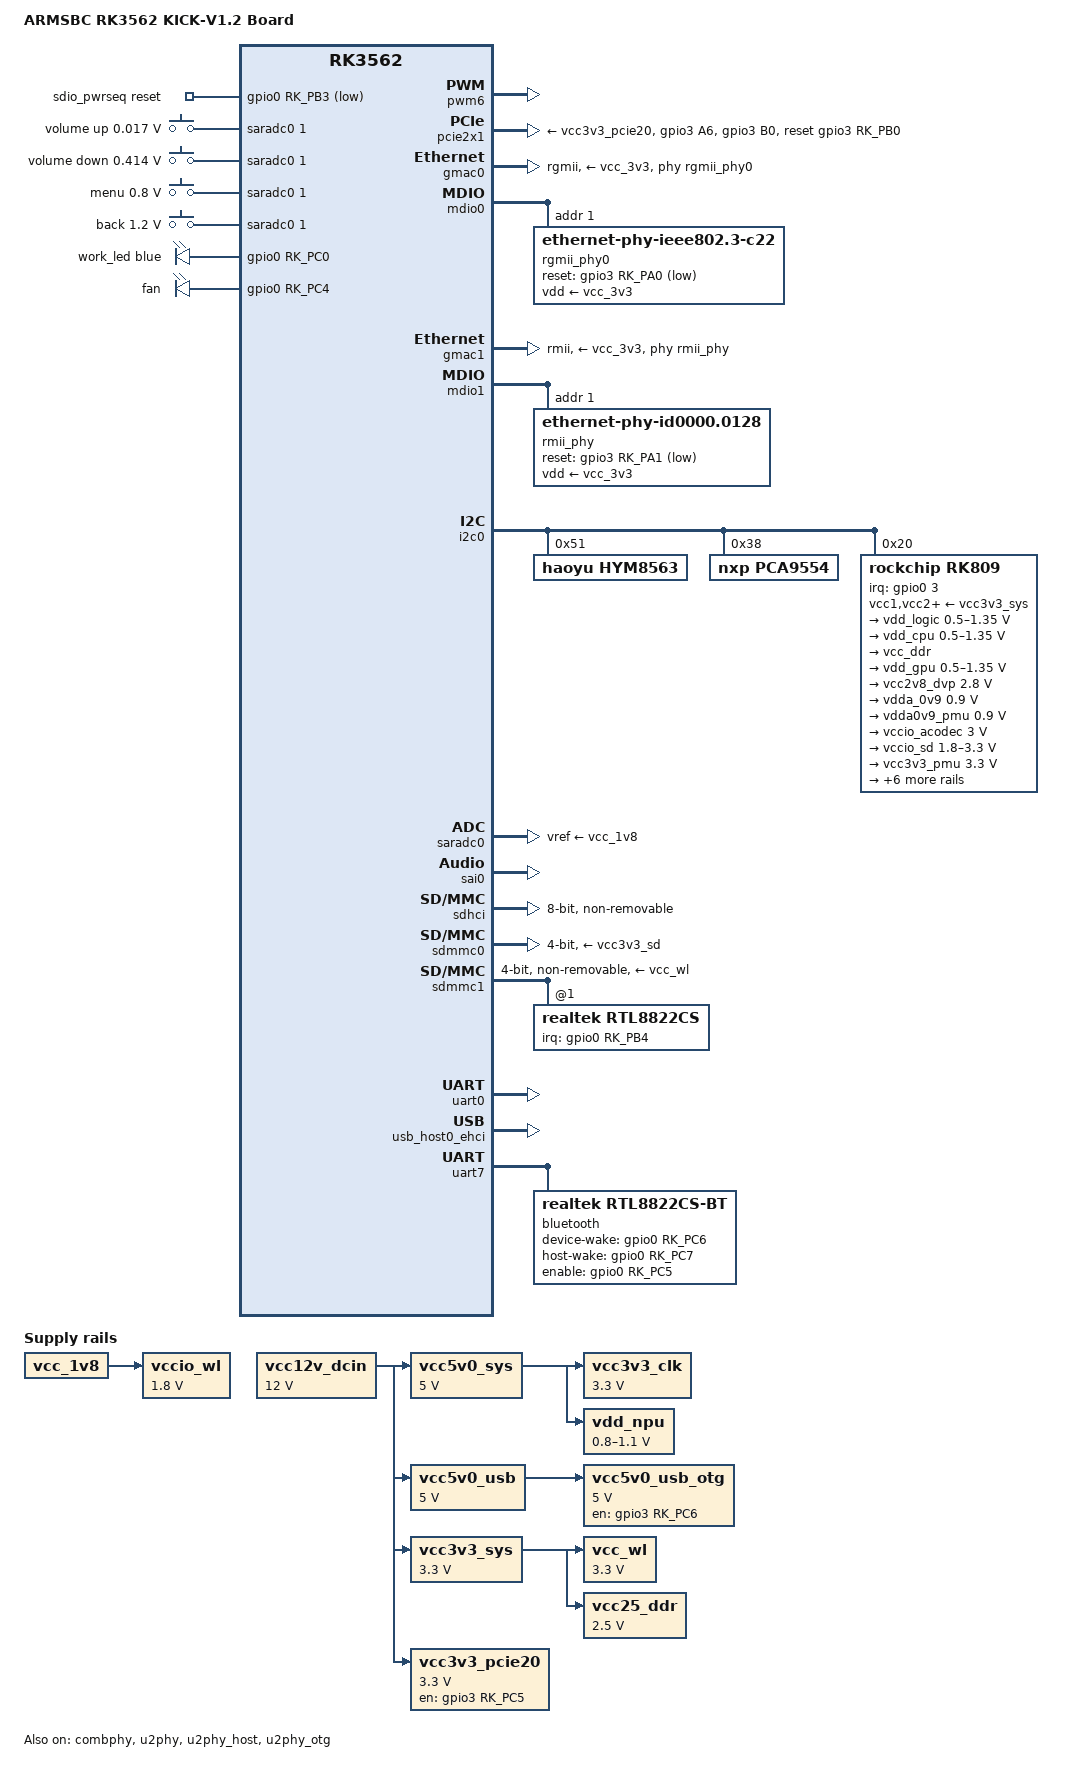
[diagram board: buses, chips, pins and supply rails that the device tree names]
// SPDX-License-Identifier: (GPL-2.0+ OR MIT)
/*
 * Copyright (c) 2024-2025 Rockchip Electronics Co., Ltd.
 *
 */

/dts-v1/;

#include <dt-bindings/gpio/gpio.h>
#include <dt-bindings/input/input.h>
#include <dt-bindings/leds/common.h>
#include <dt-bindings/pinctrl/rockchip.h>
#include "rk3562.dtsi"

/ {
	model = "ARMSBC RK3562 KICK-V1.2 Board";
	compatible = "armsbc,rk3562-kick-v1.2", "rockchip,rk3562";

	chosen: chosen {
		stdout-path = "serial0:1500000n8";
	};

	sdio_pwrseq: sdio-pwrseq {
		compatible = "mmc-pwrseq-simple";
		clocks = <&rk809 1>;
		clock-names = "ext_clock";
		pinctrl-names = "default";
		pinctrl-0 = <&wifi_enable_h>;
		post-power-on-delay-ms = <200>;
		reset-gpios = <&gpio0 RK_PB3 GPIO_ACTIVE_LOW>;
		status = "okay";
	};

	adc_keys: adc-keys {
		compatible = "adc-keys";
		io-channels = <&saradc0 1>;
		io-channel-names = "buttons";
		keyup-threshold-microvolt = <1800000>;
		poll-interval = <100>;

		button-vol-up {
			linux,code = <KEY_VOLUMEUP>;
			label = "volume up";
			press-threshold-microvolt = <17000>;
		};

		button-vol-down {
			linux,code = <KEY_VOLUMEDOWN>;
			label = "volume down";
			press-threshold-microvolt = <414000>;
		};

		button-menu {
			linux,code = <KEY_MENU>;
			label = "menu";
			press-threshold-microvolt = <800000>;
		};

		button-back {
			linux,code = <KEY_BACK>;
			label = "back";
			press-threshold-microvolt = <1200000>;
		};
	};

	leds: leds {
		compatible = "gpio-leds";

		work_led: led-0 {
			color = <LED_COLOR_ID_BLUE>;
			function = LED_FUNCTION_HEARTBEAT;
			gpios = <&gpio0 RK_PC0 GPIO_ACTIVE_HIGH>;
			linux,default-trigger = "heartbeat";
		};

		fan: fan-led {
			function = LED_FUNCTION_CPU;
			gpios = <&gpio0 RK_PC4 GPIO_ACTIVE_HIGH>;
			default-state = "on";
		};
	};

	rk809-sound {
		compatible = "simple-audio-card";
		simple-audio-card,format = "i2s";
		simple-audio-card,name = "Analog RK809";
		simple-audio-card,mclk-fs = <256>;
		status = "okay";

		simple-audio-card,cpu {
			sound-dai = <&sai0>;
		};

		simple-audio-card,codec {
			sound-dai = <&rk809>;
		};
	};

	vcc12v_dcin: regulator-vcc12v-dcin {
		compatible = "regulator-fixed";
		regulator-name = "vcc12v_dcin";
		regulator-always-on;
		regulator-boot-on;
		regulator-min-microvolt = <12000000>;
		regulator-max-microvolt = <12000000>;
	};

	vcc5v0_sys: regulator-vcc5v0-sys {
		compatible = "regulator-fixed";
		regulator-name = "vcc5v0_sys";
		regulator-always-on;
		regulator-boot-on;
		regulator-min-microvolt = <5000000>;
		regulator-max-microvolt = <5000000>;
		vin-supply = <&vcc12v_dcin>;
	};

	vcc5v0_usb: regulator-vcc5v0-usb {
		compatible = "regulator-fixed";
		regulator-name = "vcc5v0_usb";
		regulator-always-on;
		regulator-boot-on;
		regulator-min-microvolt = <5000000>;
		regulator-max-microvolt = <5000000>;
		vin-supply = <&vcc12v_dcin>;
	};

        vcc5v0_usb_otg: vcc5v0-usb-otg {
                compatible = "regulator-fixed";
                regulator-name = "vcc5v0_usb_otg";
                regulator-min-microvolt = <5000000>;
                regulator-max-microvolt = <5000000>;
                enable-active-high;
                gpio = <&gpio3 RK_PC6 GPIO_ACTIVE_HIGH>;
                vin-supply = <&vcc5v0_usb>;
                pinctrl-names = "default";
                pinctrl-0 = <&usb_otg_pwren>;
        };

	vcc3v3_clk: regulator-vcc3v3-clk {
		compatible = "regulator-fixed";
		regulator-name = "vcc3v3_clk";
		regulator-min-microvolt = <3300000>;
		regulator-max-microvolt = <3300000>;
		vin-supply = <&vcc5v0_sys>;
	};

	vcc3v3_sys: regulator-vcc-sys {
		compatible = "regulator-fixed";
		regulator-name = "vcc3v3_sys";
		regulator-always-on;
		regulator-boot-on;
		regulator-min-microvolt = <3300000>;
		regulator-max-microvolt = <3300000>;
		vin-supply = <&vcc12v_dcin>;
	};

	vcc3v3_pcie20: vcc3v3-pcie20 {
                compatible = "regulator-fixed";
                regulator-name = "vcc3v3_pcie20";
                regulator-min-microvolt = <3300000>;
                regulator-max-microvolt = <3300000>;
                enable-active-high;
                regulator-boot-on;
                regulator-always-on;
                gpios = <&gpio3 RK_PC5 GPIO_ACTIVE_HIGH>;
                pinctrl-names = "default";
                pinctrl-0 = <&pcie_pwr_en>;
                startup-delay-us = <5000>;
                vin-supply = <&vcc12v_dcin>;
        };

	vcc_wl: regulator-vcc-wl {
		compatible = "regulator-fixed";
		regulator-name = "vcc_wl";
		regulator-always-on;
		regulator-boot-on;
		regulator-min-microvolt = <3300000>;
		regulator-max-microvolt = <3300000>;
		vin-supply = <&vcc3v3_sys>;
	};

	vccio_wl: regulator-vccio-wl {
		compatible = "regulator-fixed";
		regulator-name = "vccio_wl";
		regulator-always-on;
		regulator-boot-on;
		regulator-min-microvolt = <1800000>;
		regulator-max-microvolt = <1800000>;
		vin-supply = <&vcc_1v8>;
	};

	vcc25_ddr: vcc25-ddr {
		compatible = "regulator-fixed";
		regulator-name = "vcc25_ddr";
		regulator-always-on;
		regulator-boot-on;
		regulator-min-microvolt = <2500000>;
		regulator-max-microvolt = <2500000>;
		vin-supply = <&vcc3v3_sys>;
	};

	vdd_npu: vdd-npu {
		compatible = "pwm-regulator";
		pwms = <&pwm6 0 5000 1>;
		regulator-name = "vdd_npu";
		regulator-min-microvolt = <800000>;
		regulator-max-microvolt = <1100000>;
		regulator-init-microvolt = <900000>;
		regulator-always-on;
		regulator-boot-on;
		regulator-settling-time-up-us = <250>;
		pwm-supply = <&vcc5v0_sys>;
		status = "okay";
	};

};

&combphy {
	status = "okay";
};

&dmac {
	status = "okay";
};

&pwm6 {
	status = "okay";
};

&pcie2x1 {
	max-link-speed = <1>;
	pinctrl-names = "default";
	pinctrl-0 = <&pcie20_clkreqn_m1>, <&pcie20_perstn_m1_gpio>;
	reset-gpios = <&gpio3 RK_PB0 GPIO_ACTIVE_HIGH>;
	supports-clkreq;
	vpcie3v3-supply = <&vcc3v3_pcie20>;
	status = "okay";
};

&gmac0 {
	clock_in_out = "output";
	phy-handle = <&rgmii_phy0>;
	phy-mode = "rgmii";
	phy-supply = <&vcc_3v3>;
	pinctrl-names = "default";
	pinctrl-0 = <&rgmiim0_miim
		     &rgmiim0_tx_bus2
		     &rgmiim0_rx_bus2
		     &rgmiim0_rgmii_clk
		     &rgmiim0_rgmii_bus>;
	rx_delay = <0x40>;
	status = "okay";
	tx_delay = <0x47>;
};

&mdio0 {
	rgmii_phy0: ethernet-phy@1 {
		compatible = "ethernet-phy-ieee802.3-c22";
		reg = <0x1>;
		pinctrl-names = "default";
		pinctrl-0 = <&gmac0_rst>;
		reset-assert-us = <20000>;
		reset-deassert-us = <100000>;
		reset-gpios = <&gpio3 RK_PA0 GPIO_ACTIVE_LOW>;
		vdd-supply = <&vcc_3v3>;
	};
};

&gmac1 {
	clock_in_out = "input";
	phy-handle = <&rmii_phy>;
	phy-mode = "rmii";
	phy-supply = <&vcc_3v3>;
	pinctrl-names = "default";
	pinctrl-0 = <&rmii_pins>;
	rx_delay = <0x2f>;
	status = "okay";
	tx_delay = <0x10>;
};

&mdio1 {
	rmii_phy: ethernet-phy@1 {
		compatible = "ethernet-phy-id0000.0128",
			     "ethernet-phy-ieee802.3-c22";
		reg = <0x1>;
		pinctrl-names = "default";
		pinctrl-0 = <&gmac1_rst>;
		reset-assert-us = <20000>;
		reset-deassert-us = <100000>;
		reset-gpios = <&gpio3 RK_PA1 GPIO_ACTIVE_LOW>;
		vdd-supply = <&vcc_3v3>;
	};
};

&i2c0 {
	status = "okay";

	hym8563: rtc@51 {
		compatible = "haoyu,hym8563";
		reg = <0x51>;
		#clock-cells = <0>;
		clock-output-names = "hym8563";
	};

	pca9554: gpio@38 {
		compatible = "nxp,pca9554";
		reg = <0x38>;
		gpio-controller;
		#gpio-cells = <2>;
	};

	rk809: pmic@20 {
		compatible = "rockchip,rk809";
		reg = <0x20>;
		interrupt-parent = <&gpio0>;
		interrupts = <3 IRQ_TYPE_LEVEL_LOW>;
		assigned-clocks = <&cru MCLK_SAI0_OUT2IO>;
		assigned-clock-rates = <12288000>;
		clocks = <&cru MCLK_SAI0_OUT2IO>;
		clock-names = "mclk";

		pinctrl-names = "default", "pmic-sleep",
			"pmic-power-off", "pmic-reset";
		pinctrl-0 = <&pmic_int>, <&i2s0m0_mclk>;
		rockchip,system-power-controller;
		wakeup-source;
		#clock-cells = <1>;
		clock-output-names = "rk808-clkout1", "rk808-clkout2";
		#sound-dai-cells = <0>;

		vcc1-supply = <&vcc3v3_sys>;
		vcc2-supply = <&vcc3v3_sys>;
		vcc3-supply = <&vcc3v3_sys>;
		vcc4-supply = <&vcc3v3_sys>;
		vcc5-supply = <&vcc3v3_sys>;
		vcc6-supply = <&vcc3v3_sys>;
		vcc7-supply = <&vcc3v3_sys>;
		vcc8-supply = <&vcc3v3_sys>;
		vcc9-supply = <&vcc3v3_sys>;

		regulators {
			vdd_logic: DCDC_REG1 {
				regulator-always-on;
				regulator-boot-on;
				regulator-min-microvolt = <500000>;
				regulator-max-microvolt = <1350000>;
				regulator-ramp-delay = <6001>;
				regulator-initial-mode = <0x2>;
				regulator-name = "vdd_logic";
				regulator-state-mem {
					regulator-off-in-suspend;
				};
			};

			vdd_cpu: DCDC_REG2 {
				regulator-always-on;
				regulator-boot-on;
				regulator-min-microvolt = <500000>;
				regulator-max-microvolt = <1350000>;
				regulator-ramp-delay = <6001>;
				regulator-initial-mode = <0x2>;
				regulator-name = "vdd_cpu";
				regulator-state-mem {
					regulator-off-in-suspend;
				};
			};

			vcc_ddr: DCDC_REG3 {
				regulator-always-on;
				regulator-boot-on;
				regulator-initial-mode = <0x2>;
				regulator-name = "vcc_ddr";
				regulator-state-mem {
					regulator-on-in-suspend;
				};
			};

			vdd_gpu: DCDC_REG4 {
				regulator-always-on;
				regulator-boot-on;
				regulator-min-microvolt = <500000>;
				regulator-max-microvolt = <1350000>;
				regulator-ramp-delay = <6001>;
				regulator-initial-mode = <0x2>;
				regulator-name = "vdd_gpu";
				regulator-state-mem {
					regulator-off-in-suspend;
				};
			};

			vcc2v8_dvp: LDO_REG1 {
				regulator-min-microvolt = <2800000>;
				regulator-max-microvolt = <2800000>;
				regulator-name = "vcc2v8_dvp";
				regulator-state-mem {
					regulator-off-in-suspend;
				};
			};

			vdda_0v9: LDO_REG2 {
				regulator-always-on;
				regulator-boot-on;
				regulator-min-microvolt = <900000>;
				regulator-max-microvolt = <900000>;
				regulator-name = "vdda_0v9";
				regulator-state-mem {
					regulator-off-in-suspend;
				};
			};

			vdda0v9_pmu: LDO_REG3 {
				regulator-always-on;
				regulator-boot-on;
				regulator-min-microvolt = <900000>;
				regulator-max-microvolt = <900000>;
				regulator-name = "vdda0v9_pmu";
				regulator-state-mem {
				regulator-on-in-suspend;
					regulator-suspend-microvolt = <900000>;
				};
			};

			vccio_acodec: LDO_REG4 {
				regulator-always-on;
				regulator-boot-on;
				regulator-min-microvolt = <3000000>;
				regulator-max-microvolt = <3000000>;
				regulator-name = "vccio_acodec";
				regulator-state-mem {
					regulator-off-in-suspend;
				};
			};

			vccio_sd: LDO_REG5 {
				regulator-always-on;
				regulator-boot-on;
				regulator-min-microvolt = <1800000>;
				regulator-max-microvolt = <3300000>;
				regulator-name = "vccio_sd";
				regulator-state-mem {
					regulator-off-in-suspend;
				};
			};

			vcc3v3_pmu: LDO_REG6 {
				regulator-always-on;
				regulator-boot-on;
				regulator-min-microvolt = <3300000>;
				regulator-max-microvolt = <3300000>;
				regulator-name = "vcc3v3_pmu";
				regulator-state-mem {
					regulator-on-in-suspend;
					regulator-suspend-microvolt = <3300000>;
				};
			};

			vcca_1v8: LDO_REG7 {
				regulator-always-on;
				regulator-boot-on;
				regulator-min-microvolt = <1800000>;
				regulator-max-microvolt = <1800000>;
				regulator-name = "vcca_1v8";
				regulator-state-mem {
					regulator-off-in-suspend;
				};
			};

			vcca1v8_pmu: LDO_REG8 {
				regulator-always-on;
				regulator-boot-on;
				regulator-min-microvolt = <1800000>;
				regulator-max-microvolt = <1800000>;
				regulator-name = "vcca1v8_pmu";
				regulator-state-mem {
				regulator-on-in-suspend;
					regulator-suspend-microvolt = <1800000>;
				};
			};

			vcc1v8_dvp: LDO_REG9 {
				regulator-min-microvolt = <1800000>;
				regulator-max-microvolt = <1800000>;
				regulator-name = "vcc1v8_dvp";
				regulator-state-mem {
					regulator-off-in-suspend;
				};
			};

			vcc_1v8: DCDC_REG5 {
				regulator-always-on;
				regulator-boot-on;
				regulator-min-microvolt = <1800000>;
				regulator-max-microvolt = <1800000>;
				regulator-name = "vcc_1v8";
				regulator-state-mem {
					regulator-off-in-suspend;
				};
			};

			vcc_3v3: SWITCH_REG1 {
				regulator-always-on;
				regulator-boot-on;
				regulator-name = "vcc_3v3";
				regulator-state-mem {
					regulator-off-in-suspend;
				};
			};

			vcc3v3_sd: SWITCH_REG2 {
				regulator-always-on;
				regulator-boot-on;
				regulator-name = "vcc3v3_sd";
				regulator-state-mem {
					regulator-off-in-suspend;
				};
			};
		};
	};
};

&pinctrl {
	gmac {
		gmac0_rst: gmac0-rst {
			rockchip,pins = <3 RK_PA0 RK_FUNC_GPIO &pcfg_pull_none>;
		};

		gmac1_rst: gmac1-rst {
			rockchip,pins = <3 RK_PA1 RK_FUNC_GPIO &pcfg_pull_none>;
		};
	};

	sdio-pwrseq {
		wifi_enable_h: wifi-enable-h {
			rockchip,pins = <0 RK_PB3 RK_FUNC_GPIO &pcfg_pull_none>;
		};
	};

	wireless-wlan {
		wifi_host_wake_irq: wifi-host-wake-irq {
			rockchip,pins = <0 RK_PB4 RK_FUNC_GPIO &pcfg_pull_down>;
		};
	};

	wireless-bluetooth {

		bt_reset_gpio: bt-reset-gpio {
			rockchip,pins = <0 RK_PC7 RK_FUNC_GPIO &pcfg_pull_none>;
		};

		bt_wake_gpio: bt-wake-gpio {
			rockchip,pins = <0 RK_PC6 RK_FUNC_GPIO &pcfg_pull_none>;
		};

		bt_irq_gpio: bt-irq-gpio {
			rockchip,pins = <0 RK_PC5 RK_FUNC_GPIO &pcfg_pull_none>;
		};
	};

	usb {
                usb_otg_pwren: usb-otg-pwren {
                        rockchip,pins = <3 RK_PC6 RK_FUNC_GPIO &pcfg_pull_none>;
                };
	};

	pcie {
		pcie20_clkreqn_m1: pcie20-clkreqn-m1 {
			rockchip,pins = <3 RK_PA6 4 &pcfg_pull_none>;
		};

		pcie20_perstn_m1_gpio: pcie20-perstn-m1-gpio {
			rockchip,pins = <3 RK_PB0 RK_FUNC_GPIO &pcfg_pull_none>;
		};

		pcie_pwr_en: pcie-pwr-en {
			rockchip,pins = <3 RK_PC5 RK_FUNC_GPIO &pcfg_pull_none>;
		};
	};

	headphone {
		hp_det: hp-det {
			rockchip,pins = <4 RK_PB1 RK_FUNC_GPIO &pcfg_pull_up>;
		};
	};
};

&saradc0 {
	vref-supply = <&vcc_1v8>;
	status = "okay";
};

&sai0 {
	pinctrl-names = "default";
	pinctrl-0 = <&i2s0m0_lrck &i2s0m0_sclk
		     &i2s0m0_sdi0 &i2s0m0_sdo0>;
	rockchip,sai-rx-route = <0>;
	rockchip,sai-tx-route = <0>;
	status = "okay";
};

&sdhci {
	bus-width = <8>;
	no-sdio;
	no-sd;
	non-removable;
	mmc-hs400-1_8v;
	mmc-hs400-enhanced-strobe;
	full-pwr-cycle-in-suspend;
	status = "okay";
};

&sdmmc0 {
	no-sdio;
	no-mmc;
	bus-width = <4>;
	cap-mmc-highspeed;
	cap-sd-highspeed;
	disable-wp;
	sd-uhs-sdr104;
	vmmc-supply = <&vcc3v3_sd>;
	vqmmc-supply = <&vccio_sd>;
	pinctrl-names = "default";
	pinctrl-0 = <&sdmmc0_bus4 &sdmmc0_clk &sdmmc0_cmd &sdmmc0_det>;
	status = "okay";
};

&sdmmc1 {
	no-sd;
	no-mmc;
	bus-width = <4>;
	disable-wp;
	cap-sd-highspeed;
	cap-sdio-irq;
	keep-power-in-suspend;
	mmc-pwrseq = <&sdio_pwrseq>;
	non-removable;
	pinctrl-names = "default";
	pinctrl-0 = <&sdmmc1_bus4 &sdmmc1_cmd &sdmmc1_clk>;
	vmmc-supply = <&vcc_wl>;
	vqmmc-supply = <&vccio_wl>;
	#address-cells = <1>;
	#size-cells = <0>;
	status = "okay";

	rtl8822cs: wifi@1 {
		reg = <1>;
		compatible = "realtek,rtl8822cs";
		interrupt-parent = <&gpio0>;
		interrupts = <RK_PB4 IRQ_TYPE_LEVEL_LOW>;
		pinctrl-names = "default";
		pinctrl-0 = <&wifi_host_wake_irq>;
		status = "okay";
	};
};

&uart0 {
	status = "okay";
};

&u2phy {
	status = "okay";
};

&u2phy_host {
	status = "okay";
};

&u2phy_otg {
	phy-supply = <&vcc5v0_usb_otg>;
	status = "okay";
};

&usb_host0_ehci {
	status = "okay";
};

&usb_host0_ohci {
	status = "disabled";
};

&usbdrd_dwc3 {
	dr_mode = "host";
	phys = <&u2phy_otg>, <&combphy PHY_TYPE_USB3>;
	phy-names = "usb2-phy", "usb3-phy";
	snps,dis_u2_susphy_quirk;
	snps,usb2-lpm-disable;
	status = "disabled";
};

&uart7 {
	status = "okay";
	uart-has-rtscts;
	pinctrl-names = "default";
	pinctrl-0 = <&uart7m0_xfer &uart7m0_ctsn &uart7m0_rtsn>;

	bluetooth {
		compatible = "realtek,rtl8822cs-bt";
		device-wake-gpios = <&gpio0 RK_PC6 GPIO_ACTIVE_HIGH>;
		host-wake-gpios = <&gpio0 RK_PC7 GPIO_ACTIVE_HIGH>;
		enable-gpios = <&gpio0 RK_PC5 GPIO_ACTIVE_HIGH>;
		pinctrl-names = "default";
		pinctrl-0 = <&bt_wake_gpio>, <&bt_reset_gpio>, <&bt_irq_gpio>;
		status = "okay";
	};
};
